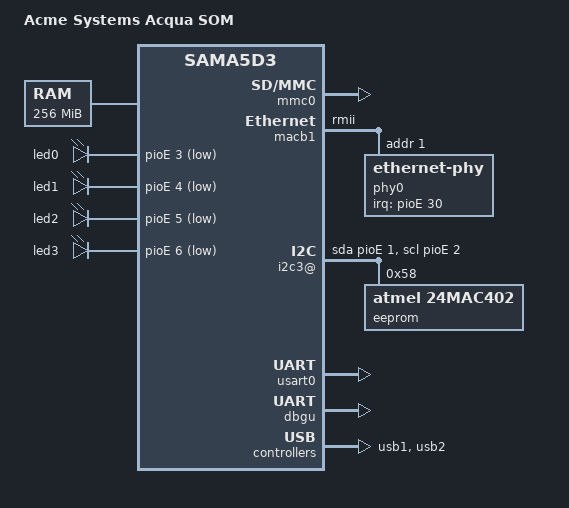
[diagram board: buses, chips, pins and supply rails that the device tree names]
/*
 * acme-acqua.dts - Device Tree file for Acqua A5 Board
 *
 *  Copyright (C) 2014 Atmel,
 *		  2014 Nicolas Ferre <nicolas.ferre@atmel.com>
 * 
 *	2022 Sergio Tanzilli <tanzilli@acmesystems.it>
 *
 * Licensed under GPLv2 or later.
 */
/dts-v1/;
#include "microchip/sama5d31.dtsi"

/ {
	model = "Acme Systems Acqua SOM";
	compatible = "acme,acqua", "atmel,sama5d3", "atmel,sama5";

	chosen {
		stdout-path = "serial0:115200n8";
		bootargs = "mem=256M console=ttyS0,115200 root=/dev/mmcblk0p2 rootfstype=ext4 rw rootwait net.ifnames=0";
	};

	memory {
		reg = <0x20000000 0x10000000>;
	};

	clocks {
		slow_xtal {
			clock-frequency = <32768>;
		};

		main_xtal {
			clock-frequency = <12000000>;
		};
	};

	ahb {
		apb {
			hlcdc: hlcdc@f0030000 {
				status = "disabled";
				hlcdc-display-controller {
					pinctrl-names = "default";
					pinctrl-0 = <&pinctrl_lcd_base &pinctrl_lcd_rgb888_alt>;
					port@0 {
						hlcdc_panel_output: endpoint@0 {
							remote-endpoint = <&panel_input>;
						};
					};
				};
			};
		
			/* MicroSD mounted on the SOM */
		
			mmc0: mmc@f0000000 {
				pinctrl-0 = <&pinctrl_mmc0_clk_cmd_dat0 &pinctrl_mmc0_dat1_3 &pinctrl_mmc0_cd>;
				status = "okay";
				slot@0 {
					reg = <0>;
					bus-width = <4>;
				};
			};
  
  			/* Optional MicroSD to mount on the carrier board */
  
			mmc1: mmc@f8000000 {
				pinctrl-0 = <&pinctrl_mmc1_clk_cmd_dat0 &pinctrl_mmc1_dat1_3 &pinctrl_mmc1_cd>;
				status = "disabled";
				slot@0 {
					reg = <0>;
					bus-width = <4>;
					cd-gpios = <&pioE 1 GPIO_ACTIVE_LOW>;
				};
			};

			spi0: spi@f0004000 {
				cs-gpios = <&pioD 13 0>, <0>, <0>, <&pioD 16 0>;
				status = "disabled";
			};

			can0: can@f000c000 {
				status = "disabled";
			};

			tcb0: timer@f0010000 {
				timer0: timer@0 {
					compatible = "atmel,tcb-timer";
					reg = <0>;
				};

				timer1: timer@1 {
					compatible = "atmel,tcb-timer";
					reg = <1>;
				};
			};

			i2c0: i2c@f0014000 {
				pinctrl-0 = <&pinctrl_i2c0_pu>;
				status = "disabled";
			};

			i2c1: i2c@f0018000 {
				status = "disabled";
			};

			macb1: ethernet@f802c000 {
				compatible = "atmel,sama5d3-macb", "cdns,at91sam9260-macb", "cdns,macb";
				
				status = "okay";
				phy-mode = "rmii";
				#address-cells = <1>;
				#size-cells = <0>;

				nvmem-cells = <&eth0_addr>;
				nvmem-cell-names = "mac-address";

                phy0: ethernet-phy@1 {
                    interrupt-parent = <&pioE>;
                    interrupts = <30 IRQ_TYPE_EDGE_FALLING>;
                    reg = <1>;
                };

				/*ethernet-phy@1 {
					reg = <0x1>;
				};*/
			};

			/* Bit banging internal I2C to manage the AT24MAC402 chip */

			i2c3@ {
				compatible = "i2c-gpio";

				sda-gpios = <&pioE 1 (GPIO_ACTIVE_HIGH|GPIO_OPEN_DRAIN)>;
				scl-gpios = <&pioE 2 (GPIO_ACTIVE_HIGH|GPIO_OPEN_DRAIN)>; 
				
				pinctrl-names = "default";
				pinctrl-0 = <&pinctrl_i2c3_gpio>;
				
				i2c-gpio,delay-us = <4>; /* ~178 kHz */
				#address-cells = <1>;
				#size-cells = <0>;
				
				/* EEPROM contains the eth0 MAC address */
				
				eeprom@58 {
					compatible = "atmel,24mac402";
					pagesize = <256>;
					read-only;
					reg = <0x58>;
					#address-cells = <1>;
					#size-cells = <1>;

					eth0_addr: eth-mac-addr@9A {
						reg = <0x0 0x06>;
					};
				};
				
			};

			pwm0: pwm@f002c000 {
				pinctrl-names = "default";
				pinctrl-0 = <&pinctrl_pwm0_pwmh0_0 &pinctrl_pwm0_pwmh1_0>;
				status = "disabled";
			};

			usart0: serial@f001c000 {
				status = "okay";
			};

			usart1: serial@f0020000 {
				pinctrl-0 = <&pinctrl_usart1 &pinctrl_usart1_rts_cts>;
				status = "disabled";
			};

			uart0: serial@f0024000 {
				status = "disabled";
			};


			spi1: spi@f8008000 {
				cs-gpios = <&pioC 25 0>;
				status = "disabled";
			};

			adc0: adc@f8018000 {
				atmel,adc-vref = <3300>;
				atmel,adc-channels-used = <0xfe>;
				pinctrl-0 = <
					&pinctrl_adc0_adtrg
					&pinctrl_adc0_ad1
					&pinctrl_adc0_ad2
					&pinctrl_adc0_ad3
					&pinctrl_adc0_ad4
					&pinctrl_adc0_ad5
					&pinctrl_adc0_ad6
					&pinctrl_adc0_ad7
					>;
				status = "disabled";
			};

			i2c2: i2c@f801c000 {
				dmas = <0>, <0>;	/* Do not use DMA for i2c2 */
				pinctrl-0 = <&pinctrl_i2c2_pu>;
				status = "disabled";
			};


			dbgu: serial@ffffee00 {
				status = "okay";
			};

			pinctrl@fffff200 {

				atmel,mux-mask = <
					/*   A          B          C  */
					0xffffffff 0xc0fc0000 0xc0ff0000	/* pioA */
					0xffffffff 0x0ff8ffff 0x00000000	/* pioB */
					0xffffffff 0xbc00f1ff 0x7c00fc00	/* pioC */
					0xffffffff 0xc001c0e0 0x0001c1e0	/* pioD */
					0xfffffff9 0xbf9f8000 0x18000000 	/* pioE */
				/*	0xffffffff 0xb8000000 0x18000000 */	/* pioE */
					>;

				board {
					pinctrl_i2c0_pu: i2c0_pu {
						atmel,pins =
							<AT91_PIOA 30 AT91_PERIPH_A AT91_PINCTRL_PULL_UP>,
							<AT91_PIOA 31 AT91_PERIPH_A AT91_PINCTRL_PULL_UP>;
					};

					pinctrl_i2c2_pu: i2c2_pu {
						atmel,pins =
							<AT91_PIOA 18 AT91_PERIPH_B AT91_PINCTRL_PULL_UP>,
							<AT91_PIOA 19 AT91_PERIPH_B AT91_PINCTRL_PULL_UP>;
					};

					pinctrl_i2c3_gpio: i2c3-gpio {
						atmel,pins =
							<AT91_PIOE 1 AT91_PERIPH_GPIO AT91_PINCTRL_NONE
							 AT91_PIOE 2 AT91_PERIPH_GPIO AT91_PINCTRL_NONE>;
					};


					pinctrl_key_gpio: key_gpio_0 {
						atmel,pins =
							<AT91_PIOE 29 AT91_PERIPH_GPIO AT91_PINCTRL_PULL_UP_DEGLITCH>;
					};

					pinctrl_mmc0_cd: mmc0_cd {
						atmel,pins =
							<AT91_PIOE 0 AT91_PERIPH_GPIO AT91_PINCTRL_PULL_UP_DEGLITCH>;
					};

					pinctrl_mmc1_cd: mmc1_cd {
						atmel,pins =
							<AT91_PIOE 1 AT91_PERIPH_GPIO AT91_PINCTRL_PULL_UP_DEGLITCH>;
					};

					pinctrl_usba_vbus: usba_vbus {
						atmel,pins =
							<AT91_PIOE 9 AT91_PERIPH_GPIO AT91_PINCTRL_DEGLITCH>;	/* PE9, conflicts with A9 */
					};
					
					pinctrl_gpio_leds: gpio_leds_default {
						atmel,pins =
							<AT91_PIOE 3 AT91_PERIPH_GPIO AT91_PINCTRL_NONE
							 AT91_PIOE 4 AT91_PERIPH_GPIO AT91_PINCTRL_NONE
							 AT91_PIOE 5 AT91_PERIPH_GPIO AT91_PINCTRL_NONE
							 AT91_PIOE 6 AT91_PERIPH_GPIO AT91_PINCTRL_NONE>;
					};
				};
			};
		};

        usb0: gadget@500000 {
            status = "disabled";
        };

        usb1: ohci@600000 {
            status = "okay";
        };

        usb2: ehci@700000 {
            status = "okay";
        };
		
	};


	panel: panel {
		/* compatible = "acme,43inch", "simple-panel"; */
		compatible = "acme,50inch", "simple-panel";
		/* compatible = "acme,70inch", "simple-panel"; */
		
		status = "disable";

		port@0 {
			panel_input: endpoint@0 {
				remote-endpoint = <&hlcdc_panel_output>;
			};
		};
	};

 
	leds {
		compatible = "gpio-leds";
		pinctrl-names = "default";
		pinctrl-0 = <&pinctrl_gpio_leds>;

		led0 {
			label = "led0";
			gpios = <&pioE 3 GPIO_ACTIVE_LOW>;
			default-state = "off";
		};

		led1 {
			label = "led1";
			gpios = <&pioE 4 GPIO_ACTIVE_LOW>;
			default-state = "off";
		};

		led2 {
			label = "led2";
			gpios = <&pioE 5 GPIO_ACTIVE_LOW>;
			linux,default-trigger = "heartbeat";
		};

		led3 {
			label = "led3";
			gpios = <&pioE 6 GPIO_ACTIVE_LOW>;
			linux,default-trigger = "mmc0";
			default-state = "off";
		};
	};		
};
